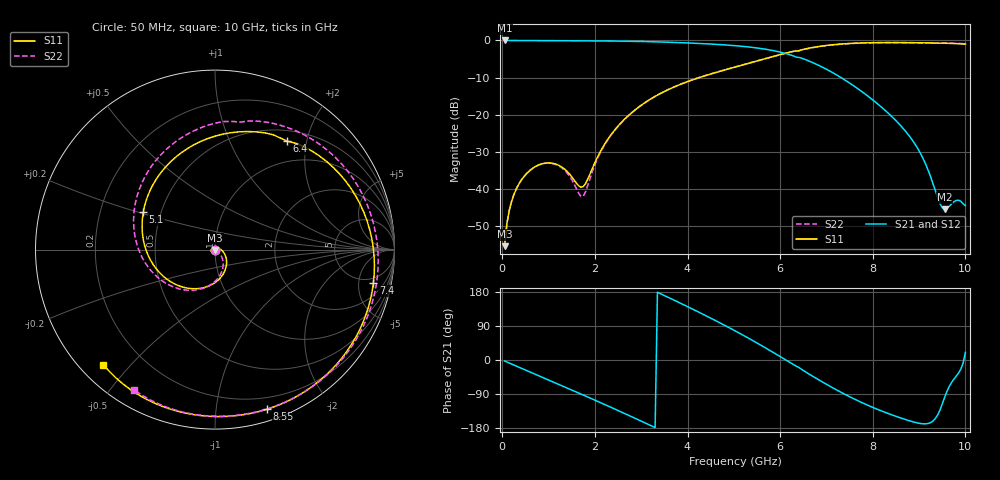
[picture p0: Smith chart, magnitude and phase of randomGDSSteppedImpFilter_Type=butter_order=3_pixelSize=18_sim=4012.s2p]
! freq	dB(S11)	phase(S11)	dB(S12)	phase(S12)
!  dB(S21)	phase(S21)	dB(S22)	phase(S22)
!S-par simulation data
#  GHz  S  DB  R 50
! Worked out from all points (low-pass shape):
!   200 points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, 50 MHz to 10 GHz, reference 50 ohm
!   highest |S21| = -0.01 dB at 50 MHz (marker M1); lowest = -45.5 dB at 9.55 GHz (marker M2)
!   |S21| within 3 dB of the highest: start of sweep to 5.953 GHz
!   lowest |S11| = -55.4 dB at 50 MHz (marker M3), VSWR 1.00, Z = 50 - j0.167 ohm
!   |S11| at or under -10 dB: start of sweep to 4.257 GHz
!   |S22| runs from -55.4 to -0.6 dB; largest |S21 - S12| = 0
!   S11 on the Smith chart (normalised r, x): 50 MHz: 1.00, -0.00; 5.1 GHz: 0.40, +0.21; 6.4 GHz: 0.66, +1.67; 7.4 GHz: 3.90, -7.72; 8.55 GHz: 0.10, -1.37; 10 GHz: 0.07, -0.42
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0.05  -55.40 -80.3  -0.01 -2.7  -0.01 -2.7  -55.37 -79.6
0.15  -45.81 -94.6  -0.01 -7.9  -0.01 -7.9  -45.78 -92.5
0.25  -41.53 -102.4  -0.02 -13.2  -0.02 -13.2  -41.49 -98.8
0.7  -34.08 -133.4  -0.05 -36.8  -0.05 -36.8  -34.08 -121.9
1.25  -33.83 -175.0  -0.08 -65.8  -0.08 -65.8  -34.02 -142.3
1.75  -39.32 81.5  -0.11 -92.5  -0.11 -92.5  -41.91 -85.7
2.35  -25.36 -20.8  -0.16 -125.0  -0.16 -125.0  -25.46 -46.7
2.9  -18.39 -60.4  -0.26 -155.6  -0.26 -155.6  -18.38 -70.2
3.4  -14.39 -93.1  -0.41 175.9  -0.41 175.9  -14.35 -95.1
4.3  -9.83 -152.1  -0.84 122.8  -0.84 122.8  -9.77 -143.0
5.05  -7.10 156.1  -1.43 75.5  -1.43 75.5  -7.06 173.5
5.1  -6.92 152.5  -1.49 72.2  -1.49 72.2  -6.89 170.4
5.75  -4.67 105.0  -2.51 27.2  -2.51 27.2  -4.67 127.2
6.4  -2.78 56.3  -4.57 -19.4  -4.57 -19.4  -2.80 78.8
6.7  -1.91 34.8  -5.96 -42.7  -5.96 -42.7  -1.95 56.4
7.4  -0.90 -11.8  -10.67 -90.7  -10.67 -90.7  -0.92 6.3
7.85  -0.65 -37.5  -14.57 -117.1  -14.57 -117.1  -0.66 -21.7
8.35  -0.57 -62.7  -19.78 -142.0  -19.78 -142.0  -0.57 -48.7
8.55  -0.58 -72.0  -22.25 -150.8  -22.25 -150.8  -0.57 -58.5
9.05  -0.64 -93.8  -30.90 -168.0  -30.90 -168.0  -0.62 -81.1
9.55  -0.75 -114.6  -45.47 -99.1  -45.47 -99.1  -0.70 -101.6
10  -0.98 -134.2  -44.50 19.8  -44.50 19.8  -0.90 -120.1
